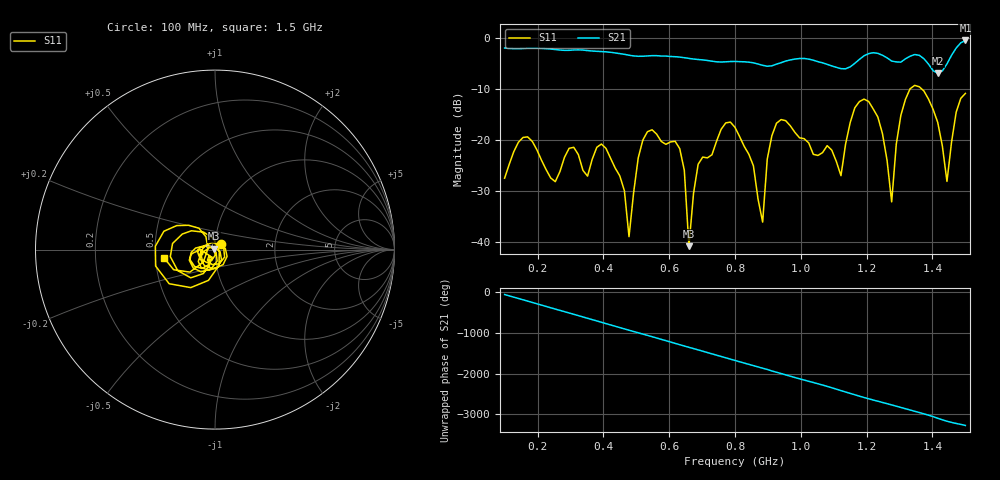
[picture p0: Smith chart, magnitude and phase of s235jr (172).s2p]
! NanoVNA-App
! Date: 2025-09-25 15:05:30
! Start: 100MHz Stop: 1,5GHz Points: 101
! S-Parameter data: F S11 S21 S12 S22
# Hz S RI R 50
!  Frequency  S11_Real  S11_Imag  S21_Real  S21_Imag  S12_Real  S12_Imag  S22_Real  S22_Imag
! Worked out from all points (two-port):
!   101 points, 100 MHz to 1.5 GHz, reference 50 ohm
!   highest |S21| = -0.48 dB at 1.5 GHz (marker M1); lowest = -6.9 dB at 1.416 GHz (marker M2)
!   |S21| within 3 dB of the highest: start of sweep to 489.2 MHz; 1.192 GHz to 1.251 GHz (58.51 MHz wide, 4.79 % of centre) (the widest 2 of 5)
!   lowest |S11| = -40.8 dB at 660 MHz (marker M3), VSWR 1.02, Z = 49.3 + j0.545 ohm
!   |S11| at or under -10 dB: start of sweep to 1.332 GHz; 1.367 GHz to end of sweep
!   S12 and S22 are empty: the file has one direction only
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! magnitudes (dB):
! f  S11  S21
! 100 MHz  -27.5  -2.0
! 170 MHz  -19.4  -2.0
! 338 MHz  -25.9  -2.4
! 408 MHz  -21.6  -2.7
! 478 MHz  -38.9  -3.4
! 520 MHz  -20.0  -3.6
! 576 MHz  -20.3  -3.5
! 632 MHz  -21.7  -3.7
! 660 MHz  -40.8  -4.0
! 688 MHz  -24.7  -4.2
! 800 MHz  -17.5  -4.6
! 884 MHz  -36.1  -5.3
! 926 MHz  -16.7  -5.1
! 1.038 GHz  -22.8  -4.4
! 1.122 GHz  -27.0  -6.0
! 1.164 GHz  -13.7  -5.0
! 1.206 GHz  -12.4  -3.1
! 1.276 GHz  -32.1  -4.5
! 1.332 GHz  -9.9  -3.6
! 1.416 GHz  -16.5  -6.9
! 1.444 GHz  -28.1  -5.1
! 1.5 GHz  -10.9  -0.5
